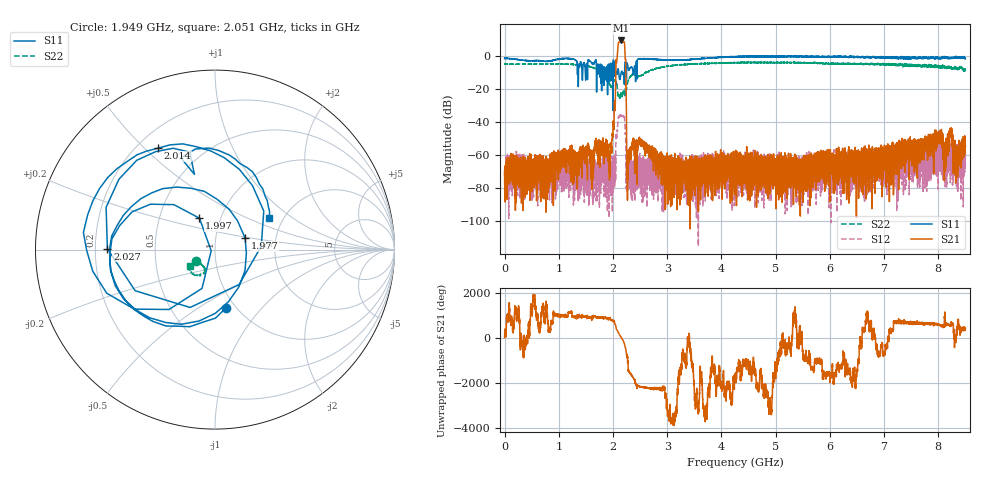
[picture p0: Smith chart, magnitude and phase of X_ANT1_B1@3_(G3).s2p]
#  HZ  S  RI  R  50.00
! Rohde & Schwarz Vector Network Analyzer
! Rohde-Schwarz,ZNBT8-20Port,1318700624101681,3.50
! Created: UTC 7/15/2025, 2:08:38 PM
! freq[Hz]  re:S1010  im:S1010  re:S0310  im:S0310  re:S1003  im:S1003  re:S33  im:S33
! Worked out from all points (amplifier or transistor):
!   8500 points, 1 MHz to 8.5 GHz, reference 50 ohm
!   highest |S21| = 9.1 dB at 2.142 GHz (marker M1)
!   |S21| within 3 dB of that: 2.094 GHz to 2.215 GHz (121.6 MHz wide, 5.65 % of centre)
!   unconditionally stable (mu >= 1): start of sweep to end of sweep
!   at 1.417 GHz: K = 3081390.22, MAG = -57.7 dB, |S12| = -81.1 dB
!   at 4.251 GHz: K = 129227.58, MAG = -55.4 dB, |S12| = -63.2 dB
!   at 8.5 GHz: K = 66966.32, MAG = -49.5 dB, |S12| = -58.2 dB
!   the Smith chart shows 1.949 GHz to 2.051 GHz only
!   S11 on the Smith chart (normalised r, x): 1.949 GHz: 0.90, -0.66; 1.977 GHz: 1.39, +0.19; 1.997 GHz: 0.79, +0.29; 2.014 GHz: 0.28, +0.55; 2.027 GHz: 0.25, +0.00; 2.051 GHz: 1.69, +0.69
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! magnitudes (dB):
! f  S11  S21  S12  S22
! 1 MHz  -1.8  -72.5  -75.8  -5.0
! 1.418 GHz  -5.1  -62.3  -65.3  -5.8
! 1.949 GHz  -9.6  -65.2  -75.0  -18.1
! 1.977 GHz  -14.9  -57.4  -71.5  -18.9
! 1.997 GHz  -14.2  -47.5  -67.4  -17.6
! 2.014 GHz  -3.8  -43.9  -69.7  -16.0
! 2.027 GHz  -4.4  -27.5  -70.9  -15.0
! 2.051 GHz  -9.1  -12.9  -55.6  -15.7
! 2.093 GHz  -8.2  5.9  -39.1  -24.2
! 2.142 GHz  -11.9  9.1  -36.0  -23.5
! 2.205 GHz  -13.6  8.0  -36.8  -21.7
! 2.293 GHz  -8.6  -57.6  -80.5  -14.0
! 2.514 GHz  -1.9  -51.1  -71.4  -12.1
! 2.834 GHz  -2.4  -63.1  -72.4  -7.5
! 4.251 GHz  -0.7  -65.7  -63.2  -4.3
! 5.667 GHz  -0.4  -66.1  -66.4  -4.4
! 7.084 GHz  -1.2  -64.3  -73.7  -5.1
! 8.019 GHz  -1.7  -47.3  -63.8  -7.0
! 8.133 GHz  -1.2  -62.9  -56.6  -6.9
! 8.226 GHz  -1.5  -45.3  -57.5  -7.4
! 8.314 GHz  -1.1  -54.2  -57.2  -7.5
! 8.5 GHz  -1.9  -54.6  -58.2  -8.3
